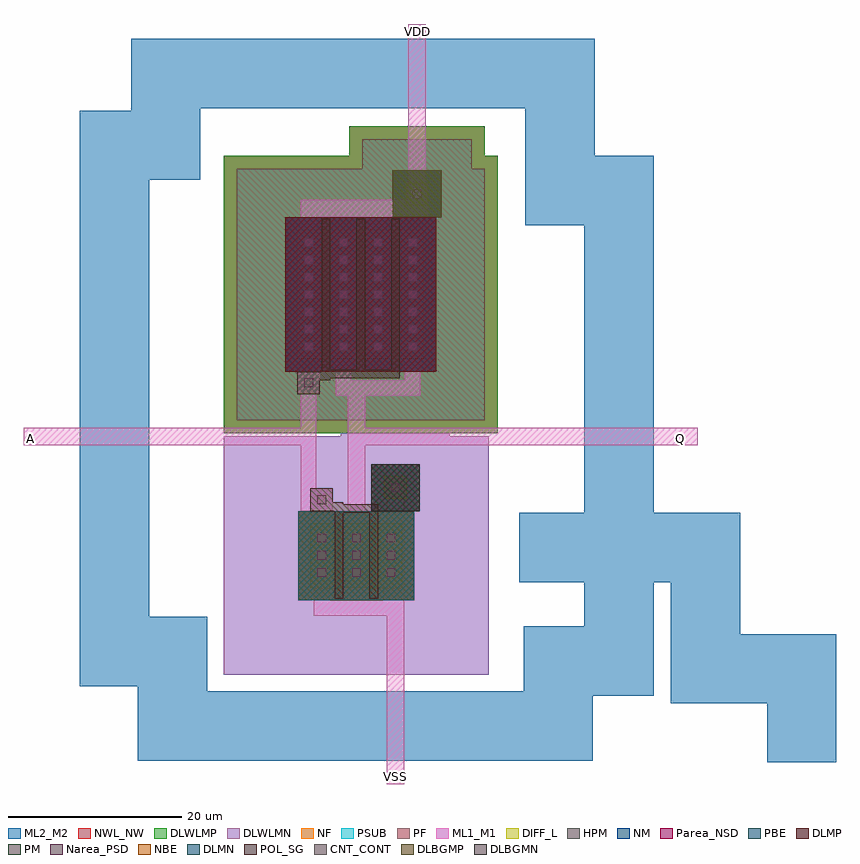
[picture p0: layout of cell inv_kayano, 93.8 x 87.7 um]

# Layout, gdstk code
import gdstk
lib = gdstk.Library(unit=1e-6, precision=1e-07)
def R(c, l, rs):  # rectangles x0, y0, x1, y1
    for r in rs: c.add(gdstk.rectangle(r[:2], r[2:], *l))
DIFF_L = (3, 0)
NM = (7, 0)
POL_SG = (8, 0)
Narea_PSD = (9, 0)
CNT_CONT = (11, 0)
ML1_M1 = (13, 0)
ML2_M2 = (20, 0)
NF = (25, 0)
PF = (26, 0)
Parea_NSD = (28, 0)
HPM = (33, 0)
PM = (35, 0)
NWL_NW = (36, 0)
PSUB = (140, 0)
PBE = (146, 0)
NBE = (147, 0)
DLWLMP = (150, 0)
DLWLMN = (151, 0)
DLMP = (157, 0)
DLMN = (158, 0)
DLBGMP = (177, 0)
DLBGMN = (178, 0)

dcont = lib.new_cell('dcont')
R(dcont, DIFF_L, [(-1.3,-1.3,1.3,1.3)])
R(dcont, CNT_CONT, [(-0.5,-0.5,0.5,0.5)])
R(dcont, ML1_M1, [(-1.3,-1.3,1.3,1.3), (-0.5,-0.5,0.5,0.5)])

pcont = lib.new_cell('pcont')
R(pcont, POL_SG, [(-1.3,-1.3,1.3,1.3)])
R(pcont, CNT_CONT, [(-0.5,-0.5,0.5,0.5)])
R(pcont, ML1_M1, [(-1.3,-1.3,1.3,1.3), (-0.5,-0.5,0.5,0.5)])

c_dcont = lib.new_cell('DCONT')
R(c_dcont, DIFF_L, [(-1.3,-1.3,1.3,1.3)])
R(c_dcont, CNT_CONT, [(-0.5,-0.5,0.5,0.5)])
R(c_dcont, ML1_M1, [(-1.3,-1.3,1.3,1.3), (-0.5,-0.5,0.5,0.5)])

nsubcont = lib.new_cell('nsubcont')
R(nsubcont, NM, [(-2.8,-2.7,2.8,2.7)])
R(nsubcont, Narea_PSD, [(-2.8,-2.7,2.8,2.7)])
R(nsubcont, NF, [(-6.3,-6.3,6.3,6.3)])
R(nsubcont, PF, [(-6.3,-6.3,6.3,6.3)])
R(nsubcont, HPM, [(-2.8,-2.7,2.8,2.7)])
R(nsubcont, PM, [(-2.8,-2.7,2.8,2.7)])
R(nsubcont, NWL_NW, [(-7.8,-7.8,7.8,7.8)])
R(nsubcont, PSUB, [(-6.3,-6.3,6.3,6.3)])
R(nsubcont, DLWLMP, [(-7.8,-7.8,7.8,7.8)])
R(nsubcont, DLBGMP, [(-2.8,-2.7,2.8,2.7)])
nsubcont.add(gdstk.Reference(c_dcont, (0,0)))

c_mp = lib.new_cell('MP')
R(c_mp, DIFF_L, [(0,3.6,14.6,18.6)])
R(c_mp, NM, [(-1.4,2.2,16,20)])
R(c_mp, NF, [(-7,-3.4,21.6,25.6)])
R(c_mp, PF, [(-7,-3.4,21.6,25.6)])
R(c_mp, Parea_NSD, [(-1.4,2.2,16,20)])
R(c_mp, HPM, [(-1.4,2.2,16,20)])
R(c_mp, NWL_NW, [(-8.5,-4.9,23.1,27.1)])
R(c_mp, PSUB, [(-7,-3.4,21.6,25.6)])
R(c_mp, PBE, [(-1.4,2.2,16,20)])
R(c_mp, DLWLMP, [(-8.5,-4.9,23.1,27.1)])
R(c_mp, DLMP, [(-1.4,2.2,16,20)])
c_mp.add(gdstk.FlexPath([(1.3,3.6),(1.3,18.6)], 2.6, ends="flush", simple_path=True, layer=13, datatype=0))  # ML1_M1
c_mp.add(gdstk.FlexPath([(5.3,3.6),(5.3,18.6)], 2.6, ends="flush", simple_path=True, layer=13, datatype=0))  # ML1_M1
c_mp.add(gdstk.FlexPath([(9.3,3.6),(9.3,18.6)], 2.6, ends="flush", simple_path=True, layer=13, datatype=0))  # ML1_M1
c_mp.add(gdstk.FlexPath([(13.3,3.6),(13.3,18.6)], 2.6, ends="flush", simple_path=True, layer=13, datatype=0))  # ML1_M1
c_mp.add(gdstk.FlexPath([(1.3,17.6),(1.3,20.9)], 1.8, ends="flush", simple_path=True, layer=13, datatype=0))  # ML1_M1
c_mp.add(gdstk.FlexPath([(5.3,0.3),(5.3,4.6)], 1.8, ends="flush", simple_path=True, layer=13, datatype=0))  # ML1_M1
c_mp.add(gdstk.FlexPath([(9.3,17.6),(9.3,20.9)], 1.8, ends="flush", simple_path=True, layer=13, datatype=0))  # ML1_M1
c_mp.add(gdstk.FlexPath([(1.3,20.9),(9.3,20.9)], 1.8, ends="extended", simple_path=True, layer=13, datatype=0))  # ML1_M1
c_mp.add(gdstk.FlexPath([(13.3,0.3),(13.3,4.6)], 1.8, ends="flush", simple_path=True, layer=13, datatype=0))  # ML1_M1
c_mp.add(gdstk.FlexPath([(5.3,0.3),(13.3,0.3)], 1.8, ends="extended", simple_path=True, layer=13, datatype=0))  # ML1_M1
c_mp.add(gdstk.FlexPath([(3.3,3.6),(3.3,18.6)], 1, ends=(1.2, 1.2), simple_path=True, layer=8, datatype=0))  # POL_SG
c_mp.add(gdstk.FlexPath([(7.3,3.6),(7.3,18.6)], 1, ends=(1.2, 1.2), simple_path=True, layer=8, datatype=0))  # POL_SG
c_mp.add(gdstk.FlexPath([(11.3,3.6),(11.3,18.6)], 1, ends=(1.2, 1.2), simple_path=True, layer=8, datatype=0))  # POL_SG
c_mp.add(gdstk.FlexPath([(1.3,1.7),(3.3,1.7),(3.3,2.4)], 1, ends="flush", simple_path=True, layer=8, datatype=0))  # POL_SG
c_mp.add(gdstk.FlexPath([(2.8,1.9),(7.8,1.9)], 1, ends="flush", simple_path=True, layer=8, datatype=0))  # POL_SG
c_mp.add(gdstk.FlexPath([(6.8,1.9),(11.8,1.9)], 1, ends="flush", simple_path=True, layer=8, datatype=0))  # POL_SG
c_mp.add(gdstk.Reference(dcont, (1.3,5.1)))
c_mp.add(gdstk.Reference(dcont, (1.3,7.1)))
c_mp.add(gdstk.Reference(dcont, (1.3,9.1)))
c_mp.add(gdstk.Reference(dcont, (1.3,11.1)))
c_mp.add(gdstk.Reference(dcont, (1.3,13.1)))
c_mp.add(gdstk.Reference(dcont, (1.3,15.1)))
c_mp.add(gdstk.Reference(dcont, (1.3,17.1)))
c_mp.add(gdstk.Reference(dcont, (5.3,5.1)))
c_mp.add(gdstk.Reference(dcont, (5.3,7.1)))
c_mp.add(gdstk.Reference(dcont, (5.3,9.1)))
c_mp.add(gdstk.Reference(dcont, (5.3,11.1)))
c_mp.add(gdstk.Reference(dcont, (5.3,13.1)))
c_mp.add(gdstk.Reference(dcont, (5.3,15.1)))
c_mp.add(gdstk.Reference(dcont, (5.3,17.1)))
c_mp.add(gdstk.Reference(dcont, (9.3,5.1)))
c_mp.add(gdstk.Reference(dcont, (9.3,7.1)))
c_mp.add(gdstk.Reference(dcont, (9.3,9.1)))
c_mp.add(gdstk.Reference(dcont, (9.3,11.1)))
c_mp.add(gdstk.Reference(dcont, (9.3,13.1)))
c_mp.add(gdstk.Reference(dcont, (9.3,15.1)))
c_mp.add(gdstk.Reference(dcont, (9.3,17.1)))
c_mp.add(gdstk.Reference(dcont, (13.3,5.1)))
c_mp.add(gdstk.Reference(dcont, (13.3,7.1)))
c_mp.add(gdstk.Reference(dcont, (13.3,9.1)))
c_mp.add(gdstk.Reference(dcont, (13.3,11.1)))
c_mp.add(gdstk.Reference(dcont, (13.3,13.1)))
c_mp.add(gdstk.Reference(dcont, (13.3,15.1)))
c_mp.add(gdstk.Reference(dcont, (13.3,17.1)))
c_mp.add(gdstk.Reference(pcont, (1.3,0.9)))
c_mp.add(gdstk.Reference(nsubcont, (13.8,22.7)))

psubcont = lib.new_cell('psubcont')
R(psubcont, NM, [(-2.8,-2.7,2.8,2.7)])
R(psubcont, Parea_NSD, [(-2.8,-2.7,2.8,2.7)])
R(psubcont, HPM, [(-2.8,-2.7,2.8,2.7)])
R(psubcont, PM, [(-2.8,-2.7,2.8,2.7)])
R(psubcont, DLWLMN, [(-6.3,-6.3,6.3,6.3)])
R(psubcont, DLBGMN, [(-2.8,-2.7,2.8,2.7)])
psubcont.add(gdstk.Reference(c_dcont, (0,0)))

c_mn = lib.new_cell('MN')
R(c_mn, DIFF_L, [(0,3.6,10.6,11.1)])
R(c_mn, Narea_PSD, [(-1.4,2.2,12,12.5)])
R(c_mn, HPM, [(-1.4,2.2,12,12.5)])
R(c_mn, PM, [(-1.4,2.2,12,12.5)])
R(c_mn, NBE, [(-1.4,2.2,12,12.5)])
R(c_mn, DLWLMN, [(-10,-6.4,20.6,21.1)])
R(c_mn, DLMN, [(-1.4,2.2,12,12.5)])
c_mn.add(gdstk.FlexPath([(1.3,3.6),(1.3,11.1)], 2.6, ends="flush", simple_path=True, layer=13, datatype=0))  # ML1_M1
c_mn.add(gdstk.FlexPath([(5.3,3.6),(5.3,11.1)], 2.6, ends="flush", simple_path=True, layer=13, datatype=0))  # ML1_M1
c_mn.add(gdstk.FlexPath([(9.3,3.6),(9.3,11.1)], 2.6, ends="flush", simple_path=True, layer=13, datatype=0))  # ML1_M1
c_mn.add(gdstk.FlexPath([(1.3,1.3),(1.3,4.6)], 1.8, ends="flush", simple_path=True, layer=13, datatype=0))  # ML1_M1
c_mn.add(gdstk.FlexPath([(5.3,10.1),(5.3,14.4)], 1.8, ends="flush", simple_path=True, layer=13, datatype=0))  # ML1_M1
c_mn.add(gdstk.FlexPath([(9.3,1.3),(9.3,4.6)], 1.8, ends="flush", simple_path=True, layer=13, datatype=0))  # ML1_M1
c_mn.add(gdstk.FlexPath([(1.3,1.3),(9.3,1.3)], 1.8, ends="extended", simple_path=True, layer=13, datatype=0))  # ML1_M1
c_mn.add(gdstk.FlexPath([(3.3,3.6),(3.3,11.1)], 1, ends=(1.2, 1.2), simple_path=True, layer=8, datatype=0))  # POL_SG
c_mn.add(gdstk.FlexPath([(7.3,3.6),(7.3,11.1)], 1, ends=(1.2, 1.2), simple_path=True, layer=8, datatype=0))  # POL_SG
c_mn.add(gdstk.FlexPath([(1.3,13),(3.3,13),(3.3,12.3)], 1, ends="flush", simple_path=True, layer=8, datatype=0))  # POL_SG
c_mn.add(gdstk.FlexPath([(2.8,12.8),(7.8,12.8)], 1, ends="flush", simple_path=True, layer=8, datatype=0))  # POL_SG
c_mn.add(gdstk.Reference(dcont, (1.3,5.4)))
c_mn.add(gdstk.Reference(dcont, (1.3,7.4)))
c_mn.add(gdstk.Reference(dcont, (1.3,9.4)))
c_mn.add(gdstk.Reference(dcont, (5.3,5.4)))
c_mn.add(gdstk.Reference(dcont, (5.3,7.4)))
c_mn.add(gdstk.Reference(dcont, (5.3,9.4)))
c_mn.add(gdstk.Reference(dcont, (9.3,5.4)))
c_mn.add(gdstk.Reference(dcont, (9.3,7.4)))
c_mn.add(gdstk.Reference(dcont, (9.3,9.4)))
c_mn.add(gdstk.Reference(pcont, (1.3,13.8)))
c_mn.add(gdstk.Reference(psubcont, (9.8,15.2)))

inv_kayano = lib.new_cell('inv_kayano')
inv_kayano.add(gdstk.FlexPath([(9.8,56.7),(9.8,41)], 1.8, ends="flush", simple_path=True, layer=13, datatype=0))  # ML1_M1
inv_kayano.add(gdstk.FlexPath([(19.8,43.7),(19.8,9.5)], 2, ends="flush", simple_path=True, layer=13, datatype=0))  # ML1_M1
inv_kayano.add(gdstk.FlexPath([(15.3,38.6),(15.3,55.2)], 2, ends="flush", simple_path=True, layer=13, datatype=0))  # ML1_M1
inv_kayano.add(gdstk.FlexPath([(8.9,75.9),(23.6,75.9)], 2, ends="flush", simple_path=True, layer=13, datatype=0))  # ML1_M1
inv_kayano.add(gdstk.FlexPath([(22.3,77.5),(22.3,97.2)], 2, ends="flush", simple_path=True, layer=13, datatype=0))  # ML1_M1
inv_kayano.add(gdstk.FlexPath([(9.8,49.6),(-23.1,49.6)], 2, ends="flush", simple_path=True, layer=13, datatype=0))  # ML1_M1
inv_kayano.add(gdstk.FlexPath([(15.3,49.6),(54.7,49.6)], 2, ends="flush", simple_path=True, layer=13, datatype=0))  # ML1_M1
inv_kayano.add(gdstk.FlexPath([(-12.6,79.9),(-12.6,24.8),(-5.9,24.8),(-5.9,16.2),(38.6,16.2),(38.6,23.7),(45.6,23.7),(45.6,78),(38.8,78),(38.8,91.5),(-6.7,91.5),(-6.7,83.2),(-12.6,83.2),(-12.6,73.9)], 8, ends="flush", simple_path=True, layer=20, datatype=0))  # ML2_M2
inv_kayano.add(gdstk.FlexPath([(34.1,36.8),(55.6,36.8),(55.6,22.8),(66.7,22.8),(66.7,16),(70.7,16)], 8, ends="flush", simple_path=True, layer=20, datatype=0))  # ML2_M2
inv_kayano.add(gdstk.Reference(c_mp, (8.5,54.9)))
inv_kayano.add(gdstk.Reference(c_mn, (10,28.5)))
inv_kayano.add(gdstk.Label('VDD', (22.3,96.3), layer=13, texttype=0))
inv_kayano.add(gdstk.Label('VSS', (19.8,10.4), layer=13, texttype=0))
inv_kayano.add(gdstk.Label('A', (-22.3,49.4), layer=13, texttype=0))
inv_kayano.add(gdstk.Label('Q', (52.7,49.4), layer=13, texttype=0))

lib.write_gds('inv_kayano.gds')
